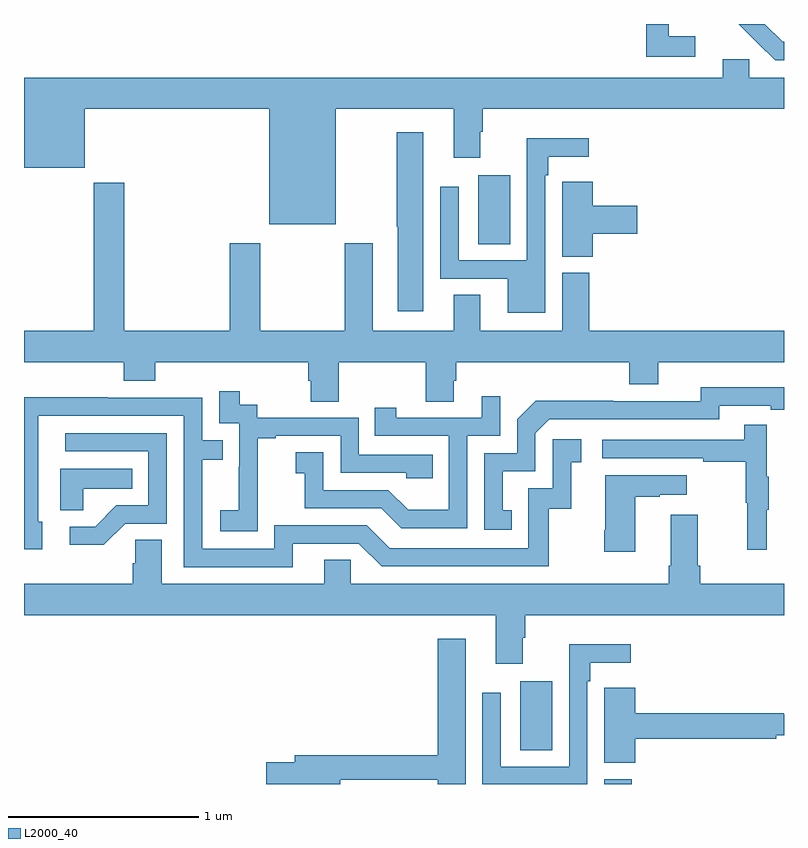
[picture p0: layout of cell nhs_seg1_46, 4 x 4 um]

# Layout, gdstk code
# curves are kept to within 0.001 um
import gdstk
lib = gdstk.Library(unit=1e-6, precision=1e-09)
def R(c, l, rs):  # rectangles x0, y0, x1, y1
    for r in rs: c.add(gdstk.rectangle(r[:2], r[2:], *l))
def P(c, l, *ps):  # polygons
    for p in ps: c.add(gdstk.Polygon(p, *l))
L2000_40 = (2000, 40)

nhs_seg1_46 = lib.new_cell('nhs_seg1_46')
R(nhs_seg1_46, L2000_40, [(116.054,528.199,116.198,528.225), (115.613,528.376,115.78,528.739), (115.391,531.04,115.558,531.403)])
P(nhs_seg1_46, L2000_40, [(116.533,532.135),(116.393,532.135),(116.393,532.199),(116.275,532.199),(116.275,532.026),(116.533,532.026)],
  [(117,532.105),(116.994,532.105),(116.899,532.199),(116.761,532.199),(116.862,532.098),(116.863,532.099),(116.954,532.008),(117,532.008)],
  [(114.64,531.752),(115.262,531.752),(115.262,531.495),(115.402,531.495),(115.402,531.632),(115.415,531.632),(115.415,531.752),(117,531.752),(117,531.916),(116.817,531.916),(116.817,532.014),(116.678,532.014),(116.678,531.916),(113,531.916),(113,531.443),(113.32,531.443),(113.32,531.752),(114.29,531.752),(114.29,531.146),(114.64,531.146)],
  [(115.102,531.628),(114.961,531.628),(114.961,531.133),(114.968,531.133),(114.968,530.688),(115.102,530.688)],
  [(115.743,531.404),(115.759,531.404),(115.759,531.5),(115.972,531.5),(115.972,531.598),(115.647,531.598),(115.647,530.955),(115.287,530.955),(115.287,531.343),(115.191,531.343),(115.191,530.859),(115.547,530.859),(115.547,530.678),(115.743,530.678)],
  [(115.994,531.095),(116.227,531.095),(116.227,531.242),(115.994,531.242),(115.994,531.37),(115.833,531.37),(115.833,531.257),(115.832,531.257),(115.832,530.974),(115.994,530.974)],
  [(114.657,530.42),(115.114,530.42),(115.114,530.212),(115.261,530.212),(115.261,530.322),(115.274,530.322),(115.274,530.42),(116.186,530.42),(116.186,530.303),(116.338,530.303),(116.338,530.42),(117,530.42),(117,530.584),(115.976,530.584),(115.976,530.889),(115.832,530.889),(115.832,530.584),(115.402,530.584),(115.402,530.774),(115.262,530.774),(115.262,530.584),(114.835,530.584),(114.835,531.046),(114.688,531.046),(114.688,530.584),(114.243,530.584),(114.243,531.046),(114.083,531.046),(114.083,530.584),(113.528,530.584),(113.528,531.364),(113.368,531.364),(113.368,530.584),(113,530.584),(113,530.42),(113.525,530.42),(113.525,530.321),(113.69,530.321),(113.69,530.42),(114.497,530.42),(114.497,530.322),(114.509,530.322),(114.509,530.212),(114.657,530.212)],
  [(115.568,529.641),(115.519,529.641),(115.519,529.845),(115.692,529.845),(115.692,530.046),(115.764,530.118),(116.658,530.118),(116.658,530.19),(116.93,530.19),(116.93,530.17),(117,530.17),(117,530.286),(116.562,530.287),(116.562,530.214),(116.102,530.214),(116.102,530.216),(115.694,530.216),(115.596,530.118),(115.596,529.941),(115.422,529.941),(115.422,529.536),(115.568,529.536)],
  [(114.231,529.735),(114.23,529.735),(114.23,530.019),(114.325,530.019),(114.325,530.031),(114.666,530.031),(114.666,529.836),(115.011,529.836),(115.011,529.809),(115.151,529.809),(115.151,529.932),(114.762,529.932),(114.762,530.127),(114.228,530.127),(114.228,530.196),(114.136,530.196),(114.136,530.266),(114.027,530.266),(114.027,530.097),(114.132,530.097),(114.132,529.868),(114.131,529.868),(114.131,529.639),(114.033,529.639),(114.033,529.529),(114.231,529.529)],
  [(115.332,530.031),(115.506,530.031),(115.506,530.239),(115.409,530.239),(115.409,530.127),(114.958,530.127),(114.958,530.179),(114.847,530.179),(114.847,530.031),(115.236,530.031),(115.236,529.642),(115.022,529.642),(114.918,529.746),(114.576,529.746),(114.576,529.945),(114.429,529.945),(114.429,529.835),(114.478,529.835),(114.478,529.65),(114.881,529.65),(114.986,529.545),(115.332,529.545)],
  [(114.415,529.464),(114.762,529.464),(114.882,529.344),(115.762,529.344),(115.762,529.647),(115.88,529.647),(115.88,529.893),(115.933,529.893),(115.933,530.014),(115.782,530.014),(115.782,529.755),(115.653,529.755),(115.653,529.44),(114.924,529.44),(114.804,529.56),(114.318,529.56),(114.318,529.437),(113.937,529.437),(113.937,529.906),(114.047,529.906),(114.047,530.007),(113.937,530.007),(113.937,530.232),(113.441,530.232),(113.441,530.234),(113,530.234),(113,529.434),(113.095,529.434),(113.095,529.578),(113.076,529.578),(113.076,530.136),(113.841,530.136),(113.841,529.341),(114.415,529.341)],
  [(116.909,529.643),(116.92,529.643),(116.92,529.817),(116.909,529.817),(116.909,530.089),(116.791,530.089),(116.791,530.01),(116.043,530.01),(116.043,529.914),(116.575,529.914),(116.575,529.894),(116.799,529.894),(116.799,529.68),(116.806,529.68),(116.806,529.431),(116.909,529.431)],
  [(113.532,529.569),(113.751,529.569),(113.751,530.046),(113.217,530.046),(113.217,529.95),(113.655,529.95),(113.655,529.665),(113.486,529.665),(113.375,529.554),(113.241,529.554),(113.241,529.457),(113.419,529.457)],
  [(113.313,529.754),(113.57,529.754),(113.57,529.858),(113.192,529.858),(113.192,529.639),(113.313,529.639)],
  [(116.218,529.711),(116.345,529.711),(116.345,529.721),(116.488,529.721),(116.488,529.825),(116.06,529.825),(116.06,529.534),(116.053,529.534),(116.053,529.422),(116.218,529.422)],
  [(115.624,528.968),(115.637,528.968),(115.637,529.088),(117,529.088),(117,529.252),(116.558,529.252),(116.558,529.348),(116.545,529.348),(116.545,529.615),(116.405,529.615),(116.405,529.348),(116.393,529.348),(116.393,529.252),(114.72,529.252),(114.72,529.379),(114.581,529.379),(114.581,529.252),(113.725,529.252),(113.725,529.484),(113.586,529.484),(113.586,529.361),(113.573,529.361),(113.573,529.252),(113,529.252),(113,529.088),(115.484,529.088),(115.484,528.831),(115.624,528.831)],
  [(114.664,528.222),(115.178,528.222),(115.178,528.199),(115.324,528.199),(115.324,528.964),(115.178,528.964),(115.178,528.35),(114.425,528.35),(114.425,528.314),(114.276,528.314),(114.276,528.199),(114.664,528.199)],
  [(115.965,528.74),(115.981,528.74),(115.981,528.836),(116.194,528.836),(116.194,528.934),(115.869,528.934),(115.869,528.291),(115.509,528.291),(115.509,528.679),(115.413,528.679),(115.413,528.199),(115.965,528.199)],
  [(116.216,528.436),(116.96,528.436),(116.96,528.455),(117,528.455),(117,528.565),(116.999,528.565),(116.999,528.572),(116.216,528.572),(116.216,528.706),(116.055,528.706),(116.055,528.593),(116.054,528.593),(116.054,528.31),(116.216,528.31)])

lib.write_gds('nhs_seg1_46.gds')
